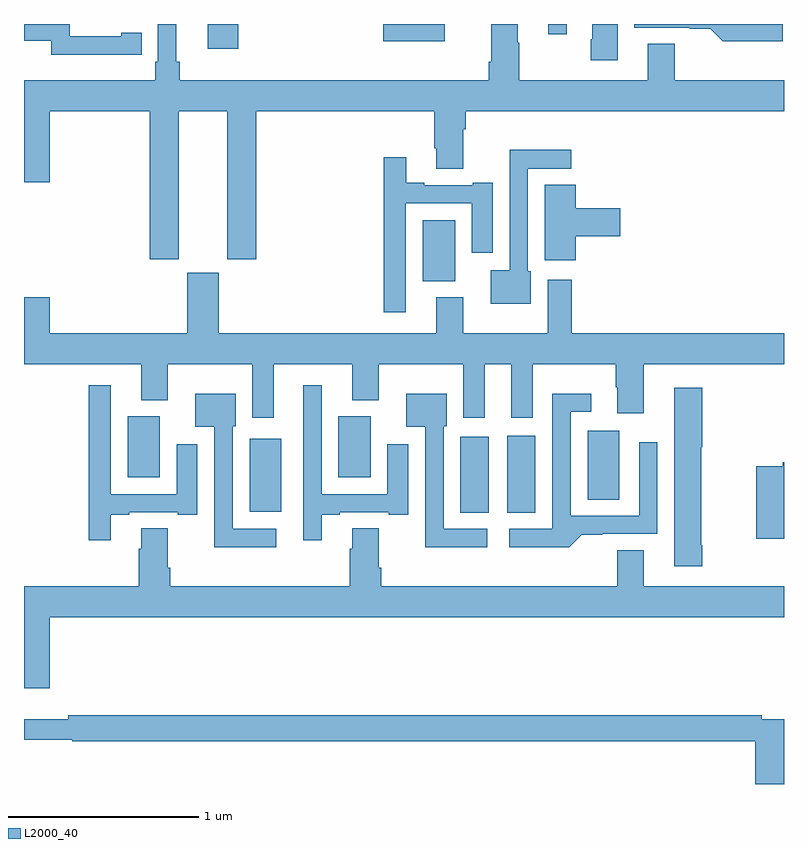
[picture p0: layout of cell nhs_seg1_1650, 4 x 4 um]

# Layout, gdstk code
import gdstk
lib = gdstk.Library(unit=1e-6, precision=1e-09)
def R(c, l, rs):  # rectangles x0, y0, x1, y1
    for r in rs: c.add(gdstk.rectangle(r[:2], r[2:], *l))
def P(c, l, *ps):  # polygons
    for p in ps: c.add(gdstk.Polygon(p, *l))
L2000_40 = (2000, 40)

nhs_seg1_1650 = lib.new_cell('nhs_seg1_1650')
R(nhs_seg1_1650, L2000_40, [(203.297,541.627,203.446,542.026), (203.543,541.627,203.692,542.032), (202.187,541.631,202.354,542.017), (203.966,541.696,204.133,542.059), (201.545,541.814,201.715,542.134), (202.655,541.814,202.825,542.134), (203.099,542.846,203.269,543.166), (201.968,544.068,202.127,544.199), (202.89,544.109,203.214,544.199), (203.759,544.146,203.857,544.199)])
P(nhs_seg1_1650, L2000_40, [(204.994,544.199),(204.213,544.199),(204.213,544.179),(204.503,544.179),(204.503,544.174),(204.611,544.174),(204.677,544.109),(204.994,544.109)],
  [(201.512,544.038),(201.62,544.038),(201.62,544.154),(201.512,544.154),(201.512,544.134),(201.24,544.134),(201.24,544.199),(201,544.199),(201,544.11),(201.144,544.11),(201.144,544.037),(201.512,544.037)],
  [(204.124,544.199),(203.99,544.199),(203.99,544.12),(203.983,544.12),(203.983,544.008),(204.124,544.008)],
  [(205,543.904),(204.424,543.904),(204.424,544.094),(204.284,544.094),(204.284,543.904),(203.607,543.904),(203.607,544.1),(203.599,544.1),(203.599,544.199),(203.459,544.199),(203.459,544),(203.447,544),(203.447,543.904),(201.821,543.904),(201.821,544),(201.802,544),(201.802,544.199),(201.705,544.199),(201.705,544),(201.692,544),(201.692,543.904),(201,543.904),(201,543.366),(201.136,543.366),(201.136,543.74),(201.662,543.74),(201.662,542.961),(201.814,542.961),(201.814,543.74),(202.07,543.74),(202.07,542.961),(202.223,542.961),(202.223,543.74),(203.159,543.74),(203.159,543.544),(203.171,543.544),(203.171,543.436),(203.311,543.436),(203.311,543.644),(203.324,543.644),(203.324,543.74),(205,543.74)],
  [(203.668,542.898),(203.652,542.898),(203.652,543.438),(203.881,543.438),(203.881,543.536),(203.556,543.536),(203.556,542.902),(203.456,542.902),(203.456,542.726),(203.668,542.726)],
  [(203.01,543.255),(203.357,543.255),(203.357,542.994),(203.467,542.994),(203.467,543.364),(203.363,543.364),(203.363,543.351),(203.107,543.351),(203.107,543.364),(203.011,543.364),(203.011,543.499),(202.894,543.499),(202.894,542.682),(203.01,542.682)],
  [(203.903,543.083),(204.139,543.083),(204.139,543.23),(203.903,543.23),(203.903,543.353),(203.741,543.353),(203.741,542.955),(203.903,542.955)],
  [(202.315,542.408),(202.727,542.408),(202.727,542.219),(202.867,542.219),(202.867,542.408),(203.312,542.408),(203.312,542.127),(203.425,542.127),(203.425,542.408),(203.564,542.408),(203.564,542.127),(203.677,542.127),(203.677,542.408),(204.115,542.408),(204.115,542.288),(204.122,542.288),(204.122,542.151),(204.262,542.151),(204.262,542.408),(205,542.408),(205,542.572),(203.882,542.572),(203.882,542.854),(203.756,542.854),(203.756,542.572),(203.311,542.572),(203.311,542.761),(203.171,542.761),(203.171,542.572),(202.024,542.572),(202.024,542.889),(201.86,542.889),(201.86,542.572),(201.136,542.572),(201.136,542.761),(201,542.761),(201,542.408),(201.617,542.408),(201.617,542.219),(201.757,542.219),(201.757,542.408),(202.202,542.408),(202.202,542.127),(202.315,542.127)],
  [(202.567,541.617),(202.663,541.617),(202.663,541.629),(202.919,541.629),(202.919,541.617),(203.023,541.617),(203.023,541.987),(202.913,541.987),(202.913,541.725),(202.566,541.725),(202.566,542.299),(202.47,542.299),(202.47,541.482),(202.567,541.482)],
  [(201.457,541.617),(201.553,541.617),(201.553,541.629),(201.809,541.629),(201.809,541.617),(201.913,541.617),(201.913,541.987),(201.803,541.987),(201.803,541.725),(201.456,541.725),(201.456,542.299),(201.34,542.299),(201.34,541.482),(201.457,541.482)],
  [(204.569,541.456),(204.564,541.456),(204.564,541.971),(204.569,541.971),(204.569,542.284),(204.422,542.284),(204.422,541.344),(204.569,541.344)],
  [(203.437,541.542),(203.208,541.542),(203.208,542.082),(203.224,542.082),(203.224,542.254),(203.012,542.254),(203.012,542.078),(203.112,542.078),(203.112,541.445),(203.437,541.445)],
  [(203.935,541.51),(204.043,541.51),(204.043,541.515),(204.333,541.515),(204.333,541.999),(204.237,541.999),(204.237,541.611),(203.877,541.611),(203.877,542.157),(203.986,542.157),(203.986,542.254),(203.781,542.254),(203.781,541.542),(203.553,541.542),(203.553,541.445),(203.87,541.445)],
  [(202.327,541.542),(202.098,541.542),(202.098,542.082),(202.114,542.082),(202.114,542.254),(201.902,542.254),(201.902,542.078),(202.002,542.078),(202.002,541.445),(202.327,541.445)],
  [(205,541.892),(204.994,541.892),(204.994,541.872),(204.853,541.872),(204.853,541.491),(205,541.491)],
  [(201.136,541.076),(205,541.076),(205,541.24),(204.262,541.24),(204.262,541.43),(204.122,541.43),(204.122,541.24),(202.88,541.24),(202.88,541.336),(202.867,541.336),(202.867,541.544),(202.727,541.544),(202.727,541.436),(202.715,541.436),(202.715,541.24),(201.77,541.24),(201.77,541.336),(201.757,541.336),(201.757,541.544),(201.617,541.544),(201.617,541.436),(201.605,541.436),(201.605,541.24),(201,541.24),(201,540.702),(201.136,540.702)],
  [(205,540.54),(204.884,540.54),(204.884,540.56),(201.232,540.56),(201.232,540.541),(201,540.541),(201,540.432),(201.255,540.432),(201.255,540.424),(204.848,540.424),(204.848,540.199),(205,540.199)])

lib.write_gds('nhs_seg1_1650.gds')
